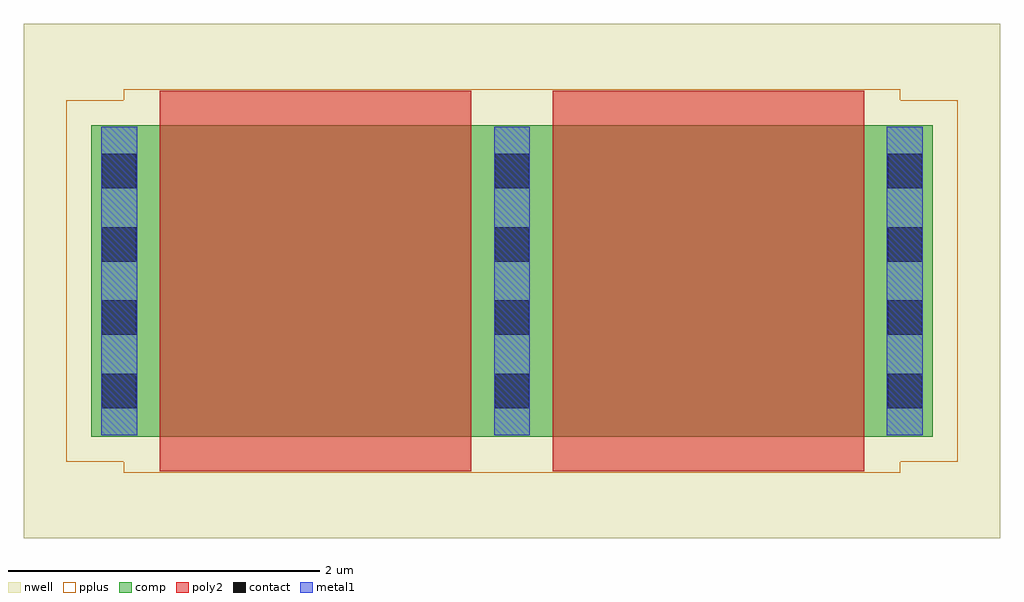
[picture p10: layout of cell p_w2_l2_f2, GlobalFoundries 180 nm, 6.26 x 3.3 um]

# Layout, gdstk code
import gdstk
lib = gdstk.Library(unit=1e-6, precision=1e-09)
def R(c, l, rs):  # rectangles x0, y0, x1, y1
    for r in rs: c.add(gdstk.rectangle(r[:2], r[2:], *l))
def A(c, l, x, y, w, h, nx, ny, dx, dy):  # array of equal rectangles
    R(c, l, [(x+i*dx, y+j*dy, x+i*dx+w, y+j*dy+h) for i in range(nx) for j in range(ny)])
nwell = (21, 0)
comp = (22, 0)
poly2 = (30, 0)
pplus = (31, 0)
contact = (33, 0)
metal1 = (34, 0)

p_w2_l2_f2 = lib.new_cell('p_w2_l2_f2')
R(p_w2_l2_f2, nwell, [(-3.13,-1.65,3.13,1.65)])
R(p_w2_l2_f2, comp, [(-2.7,-1,2.7,1)])
R(p_w2_l2_f2, poly2, [(-2.26,-1.22,-0.26,1.22), (0.26,-1.22,2.26,1.22)])
R(p_w2_l2_f2, pplus, [(-2.49,-1.23,2.49,-1.16), (-2.86,-1.16,2.86,1.16), (-2.49,1.16,2.49,1.23)])
A(p_w2_l2_f2, contact, -2.63, -0.815, 0.22, 0.22, 3, 4, 2.52, 0.47)
A(p_w2_l2_f2, metal1, -2.635, -0.99, 0.23, 1.98, 3, 1, 2.52, 0)

lib.write_gds('p_w2_l2_f2.gds')
